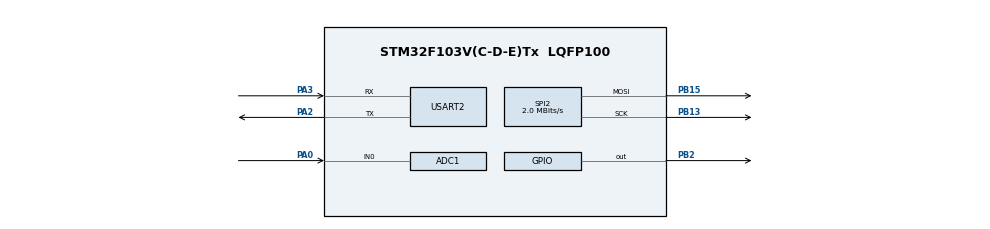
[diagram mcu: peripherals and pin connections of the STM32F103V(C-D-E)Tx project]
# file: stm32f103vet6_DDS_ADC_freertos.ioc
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ADC1.Channel-1\#ChannelRegularConversion=ADC_CHANNEL_0
ADC1.NbrOfConversionFlag=1
ADC1.Rank-1\#ChannelRegularConversion=1
ADC1.SamplingTime-1\#ChannelRegularConversion=ADC_SAMPLETIME_239CYCLES_5
ADC1.master=1
FREERTOS.Queues01=qSweepCmd,8,uint16_t,0,Dynamic,NULL,NULL
FREERTOS.Tasks01=defaultTask,24,128,StartDefaultTask,Default,NULL,Dynamic,NULL,NULL;SweepTask,24,256,StartSweepTask,Default,NULL,Dynamic,NULL,NULL;DDSControlTask,32,256,StartDDSControlTask,Default,NULL,Dynamic,NULL,NULL
Mcu.Family=STM32F1
Mcu.Name=STM32F103V(C-D-E)Tx
Mcu.Package=LQFP100
NVIC.PriorityGroup=NVIC_PRIORITYGROUP_4
OSC_IN.Mode=HSE-External-Oscillator
OSC_IN.Signal=RCC_OSC_IN
OSC_OUT.Mode=HSE-External-Oscillator
OSC_OUT.Signal=RCC_OSC_OUT
PA0-WKUP.Signal=ADCx_IN0
PA13.Mode=Serial_Wire
PA13.Signal=SYS_JTMS-SWDIO
PA14.Mode=Serial_Wire
PA14.Signal=SYS_JTCK-SWCLK
PA2.Mode=Asynchronous
PA2.Signal=USART2_TX
PA3.Mode=Asynchronous
PA3.Signal=USART2_RX
PB13.Mode=TX_Only_Simplex_Unidirect_Master
PB13.Signal=SPI2_SCK
PB15.Mode=TX_Only_Simplex_Unidirect_Master
PB15.Signal=SPI2_MOSI
PB2.Signal=GPIO_Output
ProjectManager.HeapSize=0x200
ProjectManager.StackSize=0x400
ProjectManager.TargetToolchain=STM32CubeIDE
RCC.APB1Freq_Value=8000000
RCC.APB2Freq_Value=8000000
SH.ADCx_IN0.0=ADC1_IN0,IN0
SPI2.BaudRatePrescaler=SPI_BAUDRATEPRESCALER_4
SPI2.CLKPolarity=SPI_POLARITY_HIGH
SPI2.CalculateBaudRate=2.0 MBits/s
SPI2.Direction=SPI_DIRECTION_2LINES
SPI2.Mode=SPI_MODE_MASTER
SPI2.VirtualType=VM_MASTER
USART2.VirtualMode=VM_ASYNC
VP_FREERTOS_VS_CMSIS_V2.Mode=CMSIS_V2
board=custom

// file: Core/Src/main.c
/* USER CODE BEGIN Header */
/**
  ******************************************************************************
  * @file           : main.c
  * @brief          : Main program body
  ******************************************************************************
  * @attention
  *
  * Copyright (c) 2026 STMicroelectronics.
  * All rights reserved.
  *
  * This software is licensed under terms that can be found in the LICENSE file
  * in the root directory of this software component.
  * If no LICENSE file comes with this software, it is provided AS-IS.
  *
  ******************************************************************************
  */
/* USER CODE END Header */
#include "main.h"
#include "cmsis_os.h"

/* USER CODE BEGIN Includes */
#include "AD9833.h"
#include <string.h>
#include <stdio.h>
#include <math.h>
#include "goertzel.h"
/* USER CODE END Includes */

/* USER CODE BEGIN PTD */
typedef struct
{
  uint32_t frequency_hz;
  uint32_t settle_time_ms;
} SweepCmd_t;
/* USER CODE END PTD */

ADC_HandleTypeDef hadc1;

SPI_HandleTypeDef hspi2;

UART_HandleTypeDef huart2;

/* Definitions for defaultTask */
osThreadId_t defaultTaskHandle;
const osThreadAttr_t defaultTask_attributes = {
  .name = "defaultTask",
  .stack_size = 128 * 4,
  .priority = (osPriority_t) osPriorityNormal,
};
/* Definitions for SweepTask */
osThreadId_t SweepTaskHandle;
const osThreadAttr_t SweepTask_attributes = {
  .name = "SweepTask",
  .stack_size = 256 * 4,
  .priority = (osPriority_t) osPriorityNormal,
};
/* Definitions for DDSControlTask */
osThreadId_t DDSControlTaskHandle;
const osThreadAttr_t DDSControlTask_attributes = {
  .name = "DDSControlTask",
  .stack_size = 256 * 4,
  .priority = (osPriority_t) osPriorityAboveNormal,
};
/* Definitions for qSweepCmd */
osMessageQueueId_t qSweepCmdHandle;
const osMessageQueueAttr_t qSweepCmd_attributes = {
  .name = "qSweepCmd"
};
/* USER CODE BEGIN PV */
volatile float sin_val = 0.0f;
volatile float phase_val = 0.0f;
volatile uint32_t freq_cmd = 100;
#define TEST_N 200
uint16_t test_adc_buf[TEST_N];

/* USER CODE END PV */

void SystemClock_Config(void);
static void MX_GPIO_Init(void);
static void MX_SPI2_Init(void);
static void MX_USART2_UART_Init(void);
static void MX_ADC1_Init(void);
void StartDefaultTask(void *argument);
void StartSweepTask(void *argument);
void StartDDSControlTask(void *argument);

/* USER CODE BEGIN 0 */
void generate_test_sine_adc(uint16_t *buf,
                            uint32_t N,
                            float fs_hz,
                            float f_sig_hz,
                            float amplitude,
                            float midpoint)
{
    for (uint32_t i = 0; i < N; i++)
    {
        float t = (float)i / fs_hz;
        float y = midpoint + amplitude * sinf(2.0f * 3.1415926f * f_sig_hz * t);

        if (y < 0.0f) y = 0.0f;
        if (y > 4095.0f) y = 4095.0f;

        buf[i] = (uint16_t)y;
    }
}

/* USER CODE END 0 */

int main(void)
{

  /* MCU Configuration--------------------------------------------------------*/

  /* Reset of all peripherals, Initializes the Flash interface and the Systick. */
  HAL_Init();

  /* Configure the system clock */
  SystemClock_Config();

  /* Initialize all configured peripherals */
  MX_GPIO_Init();
  MX_SPI2_Init();
  MX_USART2_UART_Init();
  MX_ADC1_Init();
  /* USER CODE BEGIN 2 */
  generate_test_sine_adc(test_adc_buf, TEST_N, 10000.0f, 1000.0f, 1000.0f, 2048.0f);

  /*  char boot_msg[] = "BOOT OK\r\n";
  HAL_UART_Transmit(&huart2, (uint8_t*)boot_msg, sizeof(boot_msg) - 1, HAL_MAX_DELAY);
  HAL_Delay(1000);

  /* USER CODE END 2 */

  /* Init scheduler */
  osKernelInitialize();

  /* Create the queue(s) */
  /* creation of qSweepCmd */
  qSweepCmdHandle = osMessageQueueNew (8, sizeof(uint16_t), &qSweepCmd_attributes);

  /* Create the thread(s) */
  /* creation of defaultTask */
  defaultTaskHandle = osThreadNew(StartDefaultTask, NULL, &defaultTask_attributes);

  /* creation of SweepTask */
  SweepTaskHandle = osThreadNew(StartSweepTask, NULL, &SweepTask_attributes);

  /* creation of DDSControlTask */
  DDSControlTaskHandle = osThreadNew(StartDDSControlTask, NULL, &DDSControlTask_attributes);

  /* Start scheduler */
  osKernelStart();

  /* We should never get here as control is now taken by the scheduler */

  /* Infinite loop */
  while (1)
  {

    /* USER CODE BEGIN 3 */
	  float mag_1000 = process_adc_goertzel(test_adc_buf, TEST_N, 10000.0f, 1000.0f);
	    float mag_500  = process_adc_goertzel(test_adc_buf, TEST_N, 10000.0f, 500.0f);

	    char msg[128];
	    int n = snprintf(msg, sizeof(msg),
	                     "MAG@1000=%.2f, MAG@500=%.2f\r\n",
	                     mag_1000, mag_500);
	    HAL_UART_Transmit(&huart2, (uint8_t*)msg, n, HAL_MAX_DELAY);
/*	  HAL_StatusTypeDef st;
	      char msg[] = "HELLO USART2\r\n";

	      st = HAL_UART_Transmit(&huart2, (uint8_t*)msg, sizeof(msg) - 1, 1000);

	      if (st != HAL_OK)
	      {
	        while (1)
	        {
	        }
	      }

	      HAL_Delay(1000);*/
	    }

  /* USER CODE END 3 */
}

void SystemClock_Config(void)
{
  RCC_OscInitTypeDef RCC_OscInitStruct = {0};
  RCC_ClkInitTypeDef RCC_ClkInitStruct = {0};
  RCC_PeriphCLKInitTypeDef PeriphClkInit = {0};

  /** Initializes the RCC Oscillators according to the specified parameters
  * in the RCC_OscInitTypeDef structure.
  */
  RCC_OscInitStruct.OscillatorType = RCC_OSCILLATORTYPE_HSI;
  RCC_OscInitStruct.HSIState = RCC_HSI_ON;
  RCC_OscInitStruct.HSICalibrationValue = RCC_HSICALIBRATION_DEFAULT;
  RCC_OscInitStruct.PLL.PLLState = RCC_PLL_NONE;
  if (HAL_RCC_OscConfig(&RCC_OscInitStruct) != HAL_OK)
  {
    Error_Handler();
  }

  /** Initializes the CPU, AHB and APB buses clocks
  */
  RCC_ClkInitStruct.ClockType = RCC_CLOCKTYPE_HCLK|RCC_CLOCKTYPE_SYSCLK
                              |RCC_CLOCKTYPE_PCLK1|RCC_CLOCKTYPE_PCLK2;
  RCC_ClkInitStruct.SYSCLKSource = RCC_SYSCLKSOURCE_HSI;
  RCC_ClkInitStruct.AHBCLKDivider = RCC_SYSCLK_DIV1;
  RCC_ClkInitStruct.APB1CLKDivider = RCC_HCLK_DIV1;
  RCC_ClkInitStruct.APB2CLKDivider = RCC_HCLK_DIV1;

  if (HAL_RCC_ClockConfig(&RCC_ClkInitStruct, FLASH_LATENCY_0) != HAL_OK)
  {
    Error_Handler();
  }
  PeriphClkInit.PeriphClockSelection = RCC_PERIPHCLK_ADC;
  PeriphClkInit.AdcClockSelection = RCC_ADCPCLK2_DIV2;
  if (HAL_RCCEx_PeriphCLKConfig(&PeriphClkInit) != HAL_OK)
  {
    Error_Handler();
  }
}

static void MX_ADC1_Init(void)
{

  ADC_ChannelConfTypeDef sConfig = {0};

  /** Common config
  */
  hadc1.Instance = ADC1;
  hadc1.Init.ScanConvMode = ADC_SCAN_DISABLE;
  hadc1.Init.ContinuousConvMode = DISABLE;
  hadc1.Init.DiscontinuousConvMode = DISABLE;
  hadc1.Init.ExternalTrigConv = ADC_SOFTWARE_START;
  hadc1.Init.DataAlign = ADC_DATAALIGN_RIGHT;
  hadc1.Init.NbrOfConversion = 1;
  if (HAL_ADC_Init(&hadc1) != HAL_OK)
  {
    Error_Handler();
  }

  /** Configure Regular Channel
  */
  sConfig.Channel = ADC_CHANNEL_0;
  sConfig.Rank = ADC_REGULAR_RANK_1;
  sConfig.SamplingTime = ADC_SAMPLETIME_239CYCLES_5;
  if (HAL_ADC_ConfigChannel(&hadc1, &sConfig) != HAL_OK)
  {
    Error_Handler();
  }

}

static void MX_SPI2_Init(void)
{

  /* SPI2 parameter configuration*/
  hspi2.Instance = SPI2;
  hspi2.Init.Mode = SPI_MODE_MASTER;
  hspi2.Init.Direction = SPI_DIRECTION_2LINES;
  hspi2.Init.DataSize = SPI_DATASIZE_8BIT;
  hspi2.Init.CLKPolarity = SPI_POLARITY_HIGH;
  hspi2.Init.CLKPhase = SPI_PHASE_1EDGE;
  hspi2.Init.NSS = SPI_NSS_SOFT;
  hspi2.Init.BaudRatePrescaler = SPI_BAUDRATEPRESCALER_4;
  hspi2.Init.FirstBit = SPI_FIRSTBIT_MSB;
  hspi2.Init.TIMode = SPI_TIMODE_DISABLE;
  hspi2.Init.CRCCalculation = SPI_CRCCALCULATION_DISABLE;
  hspi2.Init.CRCPolynomial = 10;
  if (HAL_SPI_Init(&hspi2) != HAL_OK)
  {
    Error_Handler();
  }

}

static void MX_USART2_UART_Init(void)
{

  huart2.Instance = USART2;
  huart2.Init.BaudRate = 115200;
  huart2.Init.WordLength = UART_WORDLENGTH_8B;
  huart2.Init.StopBits = UART_STOPBITS_1;
  huart2.Init.Parity = UART_PARITY_NONE;
  huart2.Init.Mode = UART_MODE_TX_RX;
  huart2.Init.HwFlowCtl = UART_HWCONTROL_NONE;
  huart2.Init.OverSampling = UART_OVERSAMPLING_16;
  if (HAL_UART_Init(&huart2) != HAL_OK)
  {
    Error_Handler();
  }

}

static void MX_GPIO_Init(void)
{
  GPIO_InitTypeDef GPIO_InitStruct = {0};

  /* GPIO Ports Clock Enable */
  __HAL_RCC_GPIOA_CLK_ENABLE();
  __HAL_RCC_GPIOB_CLK_ENABLE();

  /*Configure GPIO pin Output Level */
  HAL_GPIO_WritePin(GPIOB, GPIO_PIN_2, GPIO_PIN_RESET);

  /*Configure GPIO pin : PB2 */
  GPIO_InitStruct.Pin = GPIO_PIN_2;
  GPIO_InitStruct.Mode = GPIO_MODE_OUTPUT_PP;
  GPIO_InitStruct.Pull = GPIO_NOPULL;
  GPIO_InitStruct.Speed = GPIO_SPEED_FREQ_LOW;
  HAL_GPIO_Init(GPIOB, &GPIO_InitStruct);

}

void StartDefaultTask(void *argument)
{
  /* USER CODE BEGIN 5 */
  /* Infinite loop */
  for(;;)
  {
/*	  char msg[] = "DEFAULT TASK RUNNING\r\n";
	  HAL_UART_Transmit(&huart2, (uint8_t*)msg, sizeof(msg)-1, HAL_MAX_DELAY);
	  osDelay(1000);*/
  }
  /* USER CODE END 5 */
}

void StartSweepTask(void *argument)
{
  /* USER CODE BEGIN StartSweepTask */
	SweepCmd_t cmd;

  /* Infinite loop */
  for(;;)
  {
	  for (uint32_t f = 100; f <= 5000; f += 100)
	  		{
	  		    cmd.frequency_hz = f;
	  		    cmd.settle_time_ms = 200;

	  		    freq_cmd = f;

	  		    osMessageQueuePut(qSweepCmdHandle, &cmd, 0, osWaitForever);
	  		    osDelay(300);
	  		          }
  }
  /* USER CODE END StartSweepTask */
}

void StartDDSControlTask(void *argument)
{
  /* USER CODE BEGIN StartDDSControlTask */
	SweepCmd_t cmd;
	char msg[64];

	AD9833_Init(wave_sine, 100, 0);
  /* Infinite loop */
  for(;;)
  {
	  if (osMessageQueueGet(qSweepCmdHandle, &cmd, NULL, osWaitForever) == osOK)
	  {
	      AD9833_SetFrequency(cmd.frequency_hz);

	      int n = snprintf(msg, sizeof(msg), "DDS set: %lu Hz\r\n", cmd.frequency_hz);
	      HAL_UART_Transmit(&huart2, (uint8_t*)msg, n, HAL_MAX_DELAY);

	      osDelay(cmd.settle_time_ms);
	  }
		  osDelay(1000);
  }
  /* USER CODE END StartDDSControlTask */
}

void Error_Handler(void)
{
  __disable_irq();
  while (1)
  {
  }
}
